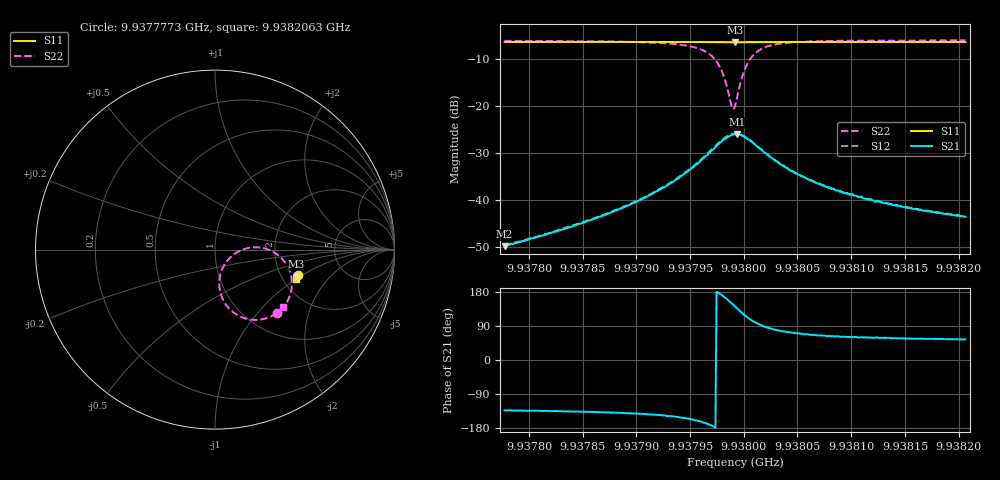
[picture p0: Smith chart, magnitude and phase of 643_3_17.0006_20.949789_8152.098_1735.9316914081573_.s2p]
#  HZ  S  RI  R  50.00
! Rohde & Schwarz Vector Network Analyzer
! Rohde-Schwarz,ZNB20-2Port,1311601062101988,3.16
! Created: UTC 3/20/2024, 11:20:56 PM
! freq[Hz]  re:S11  im:S11  re:S21  im:S21  re:S12  im:S12  re:S22  im:S22
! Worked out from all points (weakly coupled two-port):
!   401 points, 9.9377773 GHz to 9.9382063 GHz, reference 50 ohm
!   highest |S21| = -26.07 dB at 9.937994 GHz (marker M1); lowest = -49.9 dB at 9.9377773 GHz (marker M2)
!   lowest |S11| = -6.5 dB at 9.9379918 GHz (marker M3), VSWR 2.81, Z = 119 - j46.3 ohm
!   |S11| at or under -10 dB: nowhere
!   |S22| runs from -20.6 to -6.1 dB; largest |S21 - S12| = 0.0023
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9.93777731e9  0.461 -0.1397  -0.00217 -0.00233  -0.00224 -0.00231  0.3432 -0.3542
9.93784917e9  0.4588 -0.1447  -0.00404 -0.00387  -0.00419 -0.00386  0.3222 -0.3672
9.93788885e9  0.4577 -0.1475  -0.00637 -0.00536  -0.00658 -0.00536  0.2996 -0.378
9.93792103e9  0.4564 -0.1498  -0.0105 -0.00741  -0.0107 -0.00716  0.2633 -0.3882
9.93795106e9  0.4545 -0.152  -0.0196 -0.00857  -0.0202 -0.00838  0.1853 -0.3877
9.93796822e9  0.4528 -0.1531  -0.0315 -0.00507  -0.0324 -0.00461  0.0933 -0.3421
9.93797358e9  0.4518 -0.1531  -0.0365 -0.00123  -0.0375 -0.000417  0.0582 -0.3026
9.93797787e9  0.4511 -0.1529  -0.0402 0.00375  -0.0413 0.00499  0.0347 -0.2555
9.93798216e9  0.4505 -0.1524  -0.043 0.011  -0.0437 0.0126  0.0237 -0.1928
9.9379886e9  0.4502 -0.1512  -0.0423 0.0245  -0.0422 0.0266  0.0526 -0.0845
9.93799074e9  0.4502 -0.151  -0.0401 0.029  -0.04 0.0312  0.0771 -0.052
9.93799182e9  0.4502 -0.1504  -0.0388 0.031  -0.0385 0.0331  0.092 -0.0376
9.93799396e9  0.4506 -0.1502  -0.0355 0.0348  -0.0348 0.0369  0.1255 -0.0134
9.93799825e9  0.4512 -0.1498  -0.0271 0.0397  -0.0261 0.0415  0.1998 0.0116
9.93800254e9  0.4522 -0.1496  -0.0185 0.0412  -0.0173 0.0425  0.2701 0.00827
9.93800683e9  0.4528 -0.1498  -0.0111 0.0403  -0.00994 0.0409  0.3258 -0.0132
9.93801327e9  0.4537 -0.1506  -0.00335 0.0361  -0.0024 0.0367  0.3802 -0.0583
9.93803043e9  0.4547 -0.1527  0.00484 0.0253  0.00549 0.0251  0.4264 -0.159
9.93806368e9  0.4539 -0.1561  0.00632 0.0145  0.00656 0.0145  0.4204 -0.2465
9.93809693e9  0.4534 -0.1587  0.00552 0.00998  0.00579 0.0101  0.4066 -0.2812
9.93813554e9  0.4522 -0.1616  0.00476 0.00762  0.00499 0.00755  0.3948 -0.3019
9.93820633e9  0.4503 -0.1663  0.00382 0.00535  0.00397 0.00532  0.3807 -0.3214
